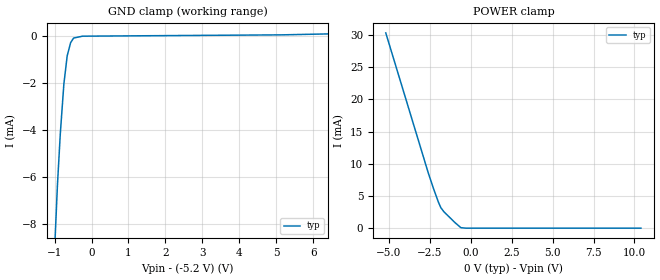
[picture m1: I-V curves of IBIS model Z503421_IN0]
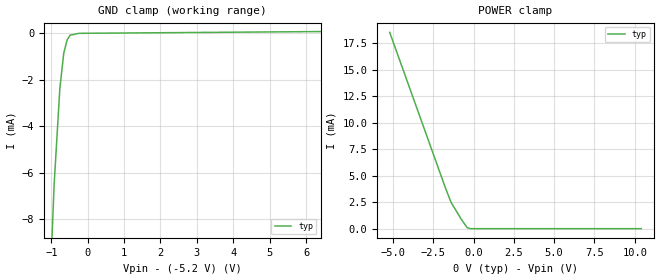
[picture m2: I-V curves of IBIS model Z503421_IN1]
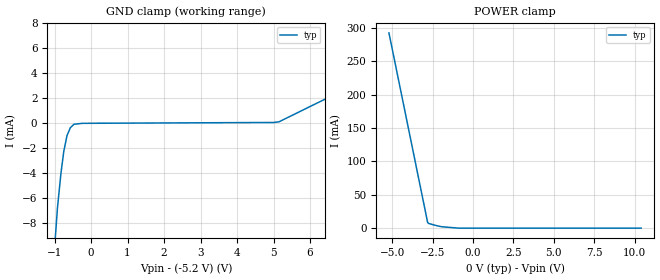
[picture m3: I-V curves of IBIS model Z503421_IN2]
| YOU ARE ONLY AUTHORIZED TO USE THIS SOFTWARE
| ACCORDING TO LICENSOR'S LICENSE RESTRICTIONS.
[IBIS Ver] 3.1
[File Name] mc10e241fn.ibs
[File Rev] 2.0
[Source] Measured and created by ICX Technology
[Date] Friday 7/14/00 9:07:49 AM
[Copyright]
| (C) COPYRIGHT 1993-2000
| MENTOR GRAPHICS CORPORATION
| ICX STANDARD LIBRARY, ICX PROJECT MODELING,
| ICX CUSTOM MODELING, ICX VENDOR MODEL
| ALL RIGHTS RESERVED.
| THE FOLLOWING ARE TRADEMARKS OR SERVICE MARKS OF
| MENTOR GRAPHICS CORPORATION:ICX (R), ICX STANDARD
| LIBRARY(R), ICX PROJECT MODELING(R), ICX CUSTOM
| MODELING(R), qualityIBIS(TM), MODELVIEWER(TM),
| AND MODELEDITOR(TM)
| ALL COPIES OF SOFTWARE, INCLUDING BUT NOT LIMITED TO
| ANY MODIFICATIONS, ENHANCEMENTS OR DERIVATIVE WORKS,
| MUST CONTAIN ALL MENTOR GRAPHICS CORPORATION'S
| NOTICES AND LEGENDS, INCLUDING THOSE EMBEDDED IN
| SOFTWARE AND THOSE AFFIXED TO SOFTWARE MEDIUM
| AND CONTAINER, AS RECEIVED FROM MENTOR GRAPHICS
| CORPORATION.
|  ZAP Model Builder 2.7
[Component] MC10E241FN
[Manufacturer] OnSemiconductor
[Package]
| variable   typ   min   max
R_pkg  .083ohms NA NA
L_pkg  4.299nH NA NA
C_pkg  1.045pF NA NA
[Pin] signal_name  model_name  R_pin  L_pin C_pin
1 VEE POWER .08 3.94n .925p
2 S-IN Z503421_IN0 .082 4.14n .995p
3 D0 Z503421_IN1 .084 4.354n 1.065p
4 D1 Z503421_IN1 .086 4.583n 1.135p
5 D2 Z503421_IN1 .086 4.583n 1.135p
6 D3 Z503421_IN1 .084 4.354n 1.065p
7 D4 Z503421_IN1 .082 4.14n .995p
8 VCCO POWER .08 3.94n .925p
9 Q0 Z503421_OUT0 .082 4.14n .995p
10 Q1 Z503421_OUT0 .084 4.354n 1.065p
11 Q2 Z503421_OUT0 .086 4.583n 1.135p
12 Q3 Z503421_OUT0 .086 4.583n 1.135p
13 Q4 Z503421_OUT0 .084 4.354n 1.065p
14 VCCO POWER .082 4.14n .995p
15 NC NC .08 3.94n .925p
16 VCC POWER .082 4.14n .995p
17 Q5 Z503421_OUT0 .084 4.354n 1.065p
18 Q6 Z503421_OUT0 .086 4.583n 1.135p
19 Q7 Z503421_OUT0 .086 4.583n 1.135p
20 VCCO POWER .084 4.354n 1.065p
21 D5 Z503421_IN1 .082 4.14n .995p
22 D6 Z503421_IN1 .08 3.94n .925p
23 D7 Z503421_IN1 .082 4.14n .995p
24 NC NC .084 4.354n 1.065p
25 SEL0 Z503421_IN2 .086 4.583n 1.135p
26 SEL1 Z503421_IN2 .086 4.583n 1.135p
27 CLK Z503421_IN3 .084 4.354n 1.065p
28 MR Z503421_IN4 .082 4.14n .995p
| Models and submodels in the file (6): Z503421_IN0 (Input_ECL), Z503421_IN1 (Input_ECL), Z503421_IN2 (Input_ECL), Z503421_IN3 (Input_ECL), Z503421_IN4 (Input_ECL), Z503421_OUT0 (Output_ECL)
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| (C) COPYRIGHT 1993-2000
| MENTOR GRAPHICS CORPORATION
| ICX STANDARD LIBRARY, ICX PROJECT MODELING,
| ICX CUSTOM MODELING, ICX VENDOR MODEL
| ALL RIGHTS RESERVED.
| THE FOLLOWING ARE TRADEMARKS OR SERVICE MARKS OF
| MENTOR GRAPHICS CORPORATION:ICX (R), ICX STANDARD
| LIBRARY(R), ICX PROJECT MODELING(R), ICX CUSTOM
| MODELING(R), qualityIBIS(TM), MODELVIEWER(TM),
| AND MODELEDITOR(TM)
| ALL COPIES OF SOFTWARE, INCLUDING BUT NOT LIMITED TO
| ANY MODIFICATIONS, ENHANCEMENTS OR DERIVATIVE WORKS,
| MUST CONTAIN ALL MENTOR GRAPHICS CORPORATION'S
| NOTICES AND LEGENDS, INCLUDING THOSE EMBEDDED IN
| SOFTWARE AND THOSE AFFIXED TO SOFTWARE MEDIUM
| AND CONTAINER, AS RECEIVED FROM MENTOR GRAPHICS
| CORPORATION.
| Model Application Version 1.89 2/18/99.
[Model] Z503421_IN0
Model_type Input_ECL
Vinl = -1.480V
Vinh = -1.130V
C_comp 4.000pF NA NA
| variable typ   min   max
[Voltage Range] -5.200V NA NA
[GND Clamp Reference] -5.200V NA NA
[POWER Clamp Reference] 0.000V NA NA
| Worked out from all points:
|   GND clamp passes 1 mA (typ) near -0.67 V on its own axis
[GND Clamp]
-5.2V     -206.6mA   NA         NA
-1.099V   -12.68mA   NA         NA
-923mV    -6.363mA   NA         NA
-845mV    -4.16mA    NA         NA
-748mV    -2.045mA   NA         NA
-659mV    -856uA     NA         NA
-566mV    -297.7uA   NA         NA
-485mV    -98.6uA    NA         NA
-242.5mV  -18.86uA   NA         NA
5.152V    37.21uA    NA         NA
10.4V     205.3uA    NA         NA
[POWER Clamp]
-5.2V     30.35mA    NA         NA
-2.597V   8.541mA    NA         NA
-2.299V   6.272mA    NA         NA
-1.983V   4.046mA    NA         NA
-1.834V   3.176mA    NA         NA
-1.641V   2.534mA    NA         NA
-961.3mV  845.6uA    NA         NA
-610.2mV  78.31uA    NA         NA
-305.1mV  0A         NA         NA
10.4V     0A         NA         NA
| (C) COPYRIGHT 1993-2000
| MENTOR GRAPHICS CORPORATION
| ICX STANDARD LIBRARY, ICX PROJECT MODELING,
| ICX CUSTOM MODELING, ICX VENDOR MODEL
| ALL RIGHTS RESERVED.
| THE FOLLOWING ARE TRADEMARKS OR SERVICE MARKS OF
| MENTOR GRAPHICS CORPORATION:ICX (R), ICX STANDARD
| LIBRARY(R), ICX PROJECT MODELING(R), ICX CUSTOM
| MODELING(R), qualityIBIS(TM), MODELVIEWER(TM),
| AND MODELEDITOR(TM)
| ALL COPIES OF SOFTWARE, INCLUDING BUT NOT LIMITED TO
| ANY MODIFICATIONS, ENHANCEMENTS OR DERIVATIVE WORKS,
| MUST CONTAIN ALL MENTOR GRAPHICS CORPORATION'S
| NOTICES AND LEGENDS, INCLUDING THOSE EMBEDDED IN
| SOFTWARE AND THOSE AFFIXED TO SOFTWARE MEDIUM
| AND CONTAINER, AS RECEIVED FROM MENTOR GRAPHICS
| CORPORATION.
| Model Application Version 1.89 2/18/99.
[Model] Z503421_IN1
Model_type Input_ECL
Vinl = -1.480V
Vinh = -1.130V
C_comp 4.000pF NA NA
| variable typ   min   max
[Voltage Range] -5.200V NA NA
[GND Clamp Reference] -5.200V NA NA
[POWER Clamp Reference] 0.000V NA NA
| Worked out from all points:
|   GND clamp passes 1 mA (typ) near -0.67 V on its own axis
[GND Clamp]
-5.2V     -239.6mA   NA         NA
-1.079V   -12.66mA   NA         NA
-923mV    -6.521mA   NA         NA
-766mV    -2.4mA     NA         NA
-659mV    -875uA     NA         NA
-566mV    -305.3uA   NA         NA
-484mV    -100.7uA   NA         NA
-242mV    -20uA      NA         NA
10.4V     101.9uA    NA         NA
[POWER Clamp]
-5.2V     18.54mA    NA         NA
-1.768V   3.951mA    NA         NA
-1.44V    2.655mA    NA         NA
-1.365V   2.408mA    NA         NA
-742.1mV  841.4uA    NA         NA
-390.6mV  88uA       NA         NA
-195.3mV  0A         NA         NA
10.4V     0A         NA         NA
| (C) COPYRIGHT 1993-2000
| MENTOR GRAPHICS CORPORATION
| ICX STANDARD LIBRARY, ICX PROJECT MODELING,
| ICX CUSTOM MODELING, ICX VENDOR MODEL
| ALL RIGHTS RESERVED.
| THE FOLLOWING ARE TRADEMARKS OR SERVICE MARKS OF
| MENTOR GRAPHICS CORPORATION:ICX (R), ICX STANDARD
| LIBRARY(R), ICX PROJECT MODELING(R), ICX CUSTOM
| MODELING(R), qualityIBIS(TM), MODELVIEWER(TM),
| AND MODELEDITOR(TM)
| ALL COPIES OF SOFTWARE, INCLUDING BUT NOT LIMITED TO
| ANY MODIFICATIONS, ENHANCEMENTS OR DERIVATIVE WORKS,
| MUST CONTAIN ALL MENTOR GRAPHICS CORPORATION'S
| NOTICES AND LEGENDS, INCLUDING THOSE EMBEDDED IN
| SOFTWARE AND THOSE AFFIXED TO SOFTWARE MEDIUM
| AND CONTAINER, AS RECEIVED FROM MENTOR GRAPHICS
| CORPORATION.
| Model Application Version 1.89 2/18/99.
[Model] Z503421_IN2
Model_type Input_ECL
Vinl = -1.480V
Vinh = -1.130V
C_comp 4.000pF NA NA
| variable typ   min   max
[Voltage Range] -5.200V NA NA
[GND Clamp Reference] -5.200V NA NA
[POWER Clamp Reference] 0.000V NA NA
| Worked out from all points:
|   GND clamp passes 1 mA (typ) near -0.66 V on its own axis
[GND Clamp]
-5.2V     -247.9mA   NA         NA
-1.074V   -13.1mA    NA         NA
-919mV    -6.808mA   NA         NA
-825mV    -4.066mA   NA         NA
-746mV    -2.266mA   NA         NA
-658mV    -1.01mA    NA         NA
-566mV    -372uA     NA         NA
-465mV    -92.67uA   NA         NA
-232.5mV  -19.35uA   NA         NA
5.012V    49.61uA    NA         NA
5.151V    102.6uA    NA         NA
10.4V     7.656mA    NA         NA
[POWER Clamp]
-5.2V     292.3mA    NA         NA
-2.813V   9.299mA    NA         NA
-2.798V   8.341mA    NA         NA
-2.749V   7.201mA    NA         NA
-2.675V   6.568mA    NA         NA
-2.383V   4.605mA    NA         NA
-2.159V   3.236mA    NA         NA
-1.973V   2.286mA    NA         NA
-1.894V   2.019mA    NA         NA
-1.762V   1.789mA    NA         NA
-881mV    0A         NA         NA
10.4V     0A         NA         NA
